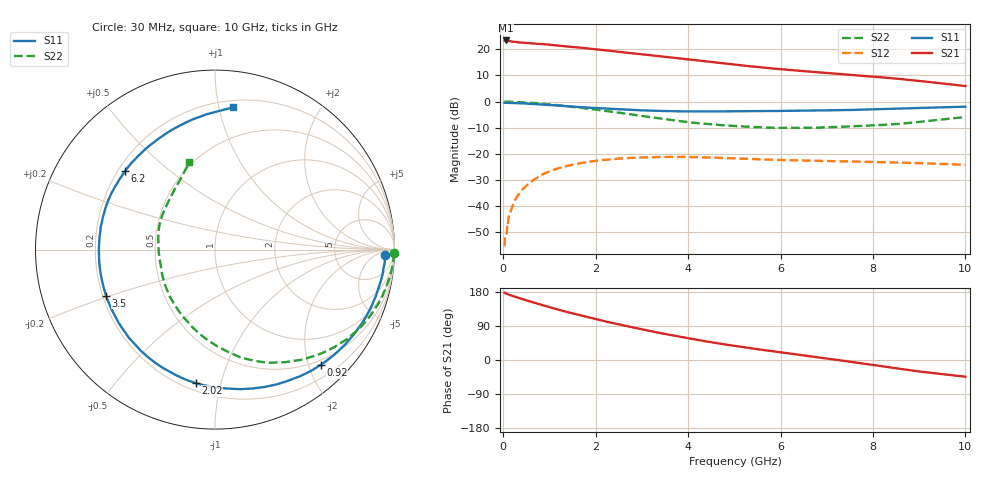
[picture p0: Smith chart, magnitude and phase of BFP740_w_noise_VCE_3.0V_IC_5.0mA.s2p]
! Infineon Technologies  Discrete & RF Semiconductors
! BFP740
! VCE =  3.0 V,  IC =  5.0 mA
! Common Emitter S-Parameters:  Jan 2016
# GHz  S  MA  R  50
!  f  S11  S21  S12  S22
! GHz  MAG  ANG  MAG  ANG  MAG  ANG  MAG  ANG
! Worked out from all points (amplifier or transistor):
!   229 points, 30 MHz to 10 GHz, reference 50 ohm
!   highest |S21| = 23.4 dB at 50 MHz (marker M1)
!   |S21| within 3 dB of that: start of sweep to 1.794 GHz
!   unconditionally stable (mu >= 1): 7.884 GHz to end of sweep
!   at 280 MHz: K = 0.08, MSG = 29.9 dB, |S12| = -37.0 dB
!   at 1.78 GHz: K = 0.23, MSG = 21.8 dB, |S12| = -23.2 dB
!   at 10 GHz: K = 1.16, MAG = 12.6 dB, |S12| = -24.2 dB
!   lowest NFmin = 0.44 dB at 450 MHz
!   S11 on the Smith chart (normalised r, x): 30 MHz: 29, -17; 920 MHz: 0.42, -2.21; 2.02 GHz: 0.25, -0.84; 3.5 GHz: 0.21, -0.19; 6.2 GHz: 0.23, +0.36; 10 GHz: 0.25, +1.11
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0.03  0.9499 -1.7  14.72 177.4  0.0017 82.9  0.9977 -1.2
0.04  0.9503 -2.2  14.63 176.8  0.0025 84.9  0.9978 -1.5
0.05  0.9494 -2.8  14.83 176.5  0.0026 95.0  0.9967 -2.0
0.165  0.9427 -9.0  14.24 170.4  0.0081 81.8  0.991 -6.2
0.36  0.9281 -19.0  13.58 162.5  0.0179 77.0  0.9748 -13.0
0.68  0.8985 -35.2  12.9 150.9  0.0326 67.3  0.9371 -23.9
0.92  0.8714 -47.4  12.52 142.3  0.043 59.9  0.8995 -31.8
1.18  0.8395 -59.8  11.84 133.3  0.0524 52.3  0.8531 -40.1
1.4  0.8134 -70.3  11.36 126.1  0.0593 46.4  0.8127 -46.7
1.7  0.7788 -84.3  10.74 116.7  0.0668 38.8  0.756 -55.2
2.02  0.7511 -98.2  9.985 107.5  0.0738 31.7  0.6994 -64.2
2.3  0.726 -110.5  9.422 99.3  0.0783 25.4  0.6484 -71.7
2.78  0.6922 -129.9  8.463 86.6  0.0835 16.2  0.5654 -84.1
3.4  0.6614 -153.8  7.394 71.1  0.0869 5.6  0.4743 -101.0
3.5  0.6591 -157.1  7.214 68.9  0.0871 4.0  0.4613 -103.7
4.2  0.6469 179.4  6.141 53.1  0.0859 -6.1  0.3865 -124.1
5.1  0.6535 157.2  4.999 35.5  0.0811 -15.5  0.3369 -147.0
6.2  0.6648 138.8  4.031 17.1  0.0755 -22.4  0.3127 -172.2
6.8  0.6749 129.4  3.651 7.2  0.0734 -25.5  0.3174 173.8
8.4  0.727 102.8  2.804 -20.1  0.0684 -32.9  0.3657 137.5
9  0.7554 93.5  2.492 -30.3  0.0662 -35.2  0.4078 122.9
10  0.7987 82.6  1.985 -44.1  0.0617 -36.2  0.5069 106.6
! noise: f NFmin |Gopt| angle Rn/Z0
0.45  0.44  0.4  11  0.23
0.9  0.45  0.41  17  0.22
1.5  0.49  0.39  26  0.21
1.9  0.52  0.38  42  0.21
2.4  0.55  0.38  46  0.2
3.5  0.65  0.35  68  0.18
5.5  0.87  0.24  164  0.16
10  1.52  0.55  -82  0.21
